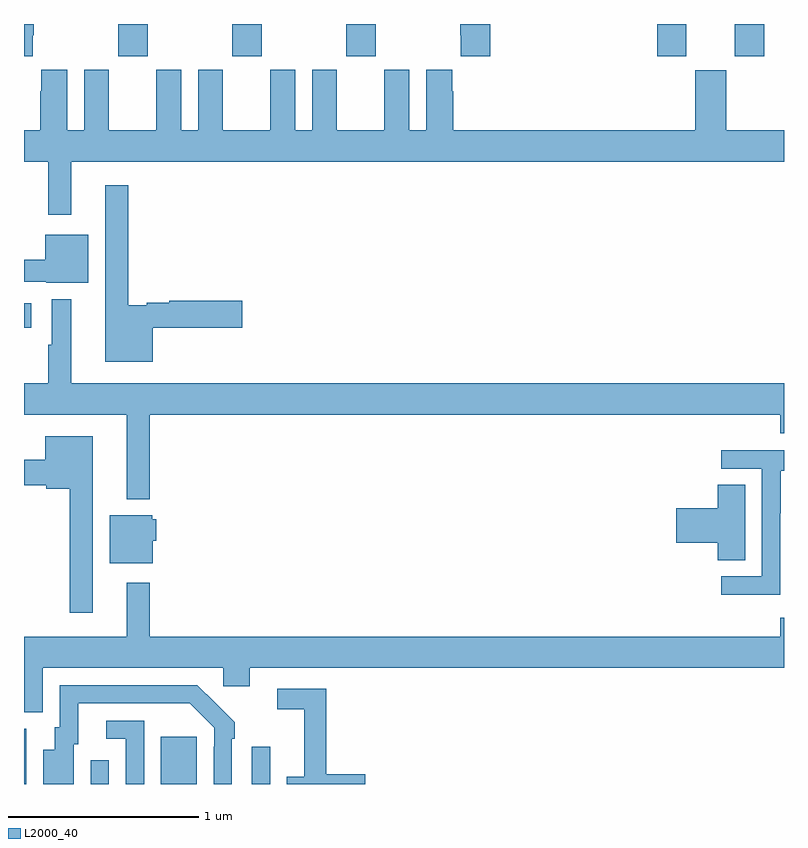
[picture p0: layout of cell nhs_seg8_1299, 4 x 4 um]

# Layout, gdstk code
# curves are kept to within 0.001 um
import gdstk
lib = gdstk.Library(unit=1e-6, precision=1e-09)
def R(c, l, rs):  # rectangles x0, y0, x1, y1
    for r in rs: c.add(gdstk.rectangle(r[:2], r[2:], *l))
def A(c, l, x, y, w, h, nx, ny, dx, dy):  # array of equal rectangles
    R(c, l, [(x+i*dx, y+j*dy, x+i*dx+w, y+j*dy+h) for i in range(nx) for j in range(ny)])
def P(c, l, *ps):  # polygons
    for p in ps: c.add(gdstk.Polygon(p, *l))
L2000_40 = (2000, 40)

nhs_seg8_1299 = lib.new_cell('nhs_seg8_1299')
A(nhs_seg8_1299, L2000_40, 193.495, 1107.729, 0.155, 0.171, 3, 1, 0.6, 0)
R(nhs_seg8_1299, L2000_40, [(193,1103.9,193.012,1104.192), (193.35,1103.9,193.446,1104.025), (193.721,1103.9,193.909,1104.148), (194.199,1103.9,194.295,1104.097), (193,1106.302,193.039,1106.431), (196.334,1107.729,196.486,1107.9), (196.742,1107.729,196.895,1107.9)])
P(nhs_seg8_1299, L2000_40, [(193.045,1107.841),(193.05,1107.841),(193.05,1107.9),(193,1107.9),(193,1107.729),(193.045,1107.729)],
  [(195.455,1107.9),(195.295,1107.9),(195.295,1107.841),(195.299,1107.841),(195.299,1107.729),(195.455,1107.729)],
  [(193.249,1107.176),(197,1107.176),(197,1107.34),(196.696,1107.34),(196.696,1107.657),(196.532,1107.657),(196.532,1107.34),(195.26,1107.34),(195.26,1107.545),(195.253,1107.545),(195.253,1107.658),(195.116,1107.658),(195.116,1107.34),(195.028,1107.34),(195.028,1107.658),(194.897,1107.658),(194.897,1107.34),(194.647,1107.34),(194.647,1107.658),(194.516,1107.658),(194.516,1107.34),(194.428,1107.34),(194.428,1107.658),(194.297,1107.658),(194.297,1107.34),(194.047,1107.34),(194.047,1107.658),(193.916,1107.658),(193.916,1107.34),(193.828,1107.34),(193.828,1107.658),(193.697,1107.658),(193.697,1107.34),(193.447,1107.34),(193.447,1107.658),(193.316,1107.658),(193.316,1107.34),(193.228,1107.34),(193.228,1107.658),(193.091,1107.658),(193.091,1107.545),(193.085,1107.545),(193.085,1107.34),(193,1107.34),(193,1107.176),(193.128,1107.176),(193.128,1106.895),(193.249,1106.895)],
  [(193.678,1106.302),(194.149,1106.302),(194.149,1106.444),(193.764,1106.444),(193.764,1106.432),(193.646,1106.432),(193.646,1106.419),(193.549,1106.419),(193.549,1107.052),(193.427,1107.052),(193.427,1106.123),(193.678,1106.123)],
  [(193.339,1106.791),(193.112,1106.791),(193.112,1106.66),(193,1106.66),(193,1106.544),(193.116,1106.544),(193.116,1106.537),(193.339,1106.537)],
  [(193.663,1105.844),(196.979,1105.844),(196.979,1105.745),(197,1105.745),(197,1106.008),(193.249,1106.008),(193.249,1106.452),(193.145,1106.452),(193.145,1106.213),(193.128,1106.213),(193.128,1106.008),(193,1106.008),(193,1105.844),(193.541,1105.844),(193.541,1105.4),(193.663,1105.4)],
  [(193.363,1105.729),(193.112,1105.729),(193.112,1105.606),(193,1105.606),(193,1105.472),(193.116,1105.472),(193.116,1105.454),(193.242,1105.454),(193.242,1104.801),(193.363,1104.801)],
  [(196.98,1105.324),(196.983,1105.324),(196.983,1105.548),(197,1105.548),(197,1105.656),(196.671,1105.656),(196.671,1105.56),(196.884,1105.56),(196.884,1104.993),(196.671,1104.993),(196.671,1104.895),(196.98,1104.895)],
  [(196.795,1105.475),(196.652,1105.475),(196.652,1105.352),(196.434,1105.352),(196.434,1105.169),(196.652,1105.169),(196.652,1105.078),(196.795,1105.078)],
  [(193.678,1105.179),(193.696,1105.179),(193.696,1105.293),(193.674,1105.293),(193.674,1105.315),(193.451,1105.315),(193.451,1105.061),(193.678,1105.061)],
  [(193.099,1104.512),(194.049,1104.512),(194.049,1104.414),(194.188,1104.414),(194.188,1104.512),(197,1104.512),(197,1104.775),(196.979,1104.775),(196.979,1104.676),(193.663,1104.676),(193.663,1104.958),(193.541,1104.958),(193.541,1104.676),(193,1104.676),(193,1104.277),(193.099,1104.277)],
  [(193.261,1104.108),(193.285,1104.108),(193.285,1104.324),(193.873,1104.324),(194.001,1104.195),(194.001,1104.095),(193.998,1104.095),(193.998,1103.9),(194.094,1103.9),(194.094,1104.137),(194.109,1104.137),(194.109,1104.225),(193.912,1104.42),(193.188,1104.42),(193.188,1104.198),(193.163,1104.198),(193.163,1104.079),(193.1,1104.079),(193.1,1103.9),(193.261,1103.9)],
  [(194.797,1103.951),(194.591,1103.951),(194.591,1104.402),(194.334,1104.402),(194.334,1104.294),(194.474,1104.294),(194.474,1103.938),(194.384,1103.938),(194.384,1103.9),(194.797,1103.9)],
  [(193.632,1104.234),(193.434,1104.234),(193.434,1104.138),(193.536,1104.138),(193.536,1103.9),(193.632,1103.9)])

lib.write_gds('nhs_seg8_1299.gds')
